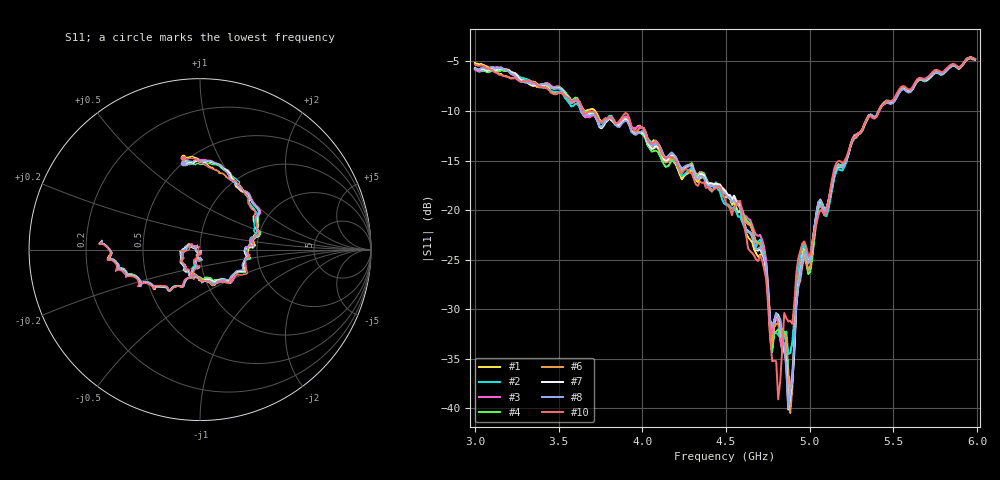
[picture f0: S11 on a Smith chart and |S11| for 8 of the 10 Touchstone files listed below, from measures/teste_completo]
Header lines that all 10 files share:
! Saved from nanovna library
# Hz S RI R 50
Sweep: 3 GHz to 5.988 GHz
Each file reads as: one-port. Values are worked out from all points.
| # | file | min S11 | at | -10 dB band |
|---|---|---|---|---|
| 1 | 0.s1p | -39.4 dB | 4.872 GHz | 1.697 GHz wide |
| 2 | 1.s1p | -34.6 dB | 4.872 GHz | 1.779 GHz wide |
| 3 | 2.s1p | -38.1 dB | 4.884 GHz | 1.776 GHz wide |
| 4 | 3.s1p | -39.1 dB | 4.884 GHz | 1.762 GHz wide |
| 5 | 4.s1p | -40.6 dB | 4.884 GHz | 1.767 GHz wide |
| 6 | 5.s1p | -40.5 dB | 4.884 GHz | 1.769 GHz wide |
| 7 | 6.s1p | -40.1 dB | 4.872 GHz | 1.766 GHz wide |
| 8 | 7.s1p | -40.0 dB | 4.872 GHz | 1.768 GHz wide |
| 9 | 8.s1p | -38.6 dB | 4.872 GHz | 1.773 GHz wide |
| 10 | 9.s1p | -39.1 dB | 4.812 GHz | 1.767 GHz wide |
